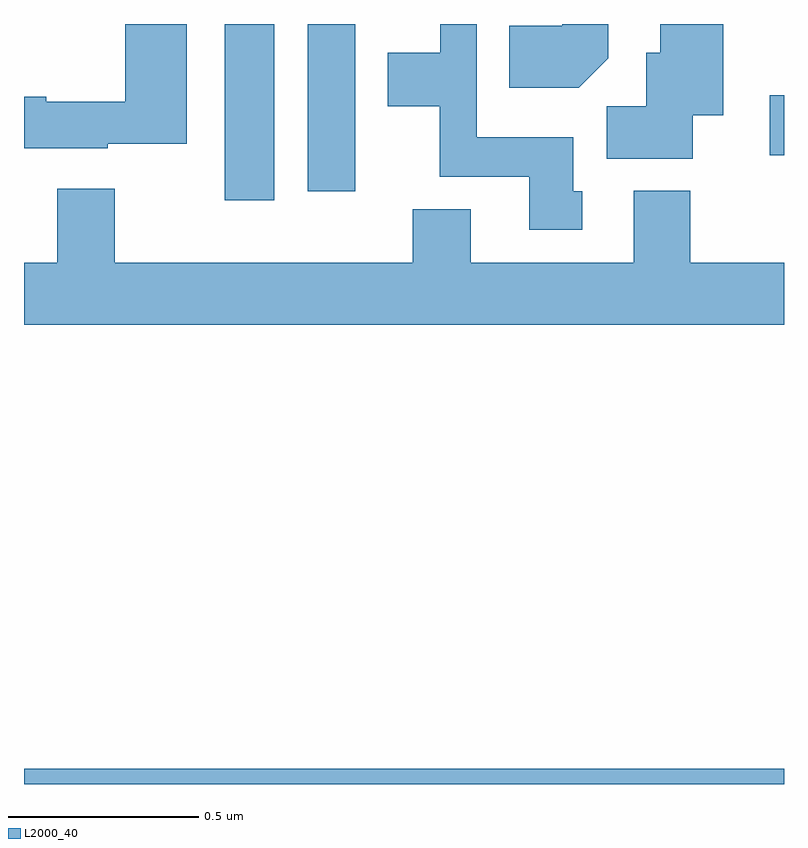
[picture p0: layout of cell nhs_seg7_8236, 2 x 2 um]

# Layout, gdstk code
import gdstk
lib = gdstk.Library(unit=1e-6, precision=1e-09)
def R(c, l, rs):  # rectangles x0, y0, x1, y1
    for r in rs: c.add(gdstk.rectangle(r[:2], r[2:], *l))
def P(c, l, *ps):  # polygons
    for p in ps: c.add(gdstk.Polygon(p, *l))
L2000_40 = (2000, 40)

nhs_seg7_8236 = lib.new_cell('nhs_seg7_8236')
R(nhs_seg7_8236, L2000_40, [(221,1074,223,1074.04), (221.528,1075.536,221.659,1076), (221.747,1075.56,221.872,1076), (222.963,1075.655,223,1075.813)])
P(nhs_seg7_8236, L2000_40, [(222.469,1075.56),(222.445,1075.56),(222.445,1075.702),(222.192,1075.702),(222.192,1076),(222.096,1076),(222.096,1075.924),(221.957,1075.924),(221.957,1075.784),(222.094,1075.784),(222.094,1075.598),(222.329,1075.598),(222.329,1075.458),(222.469,1075.458)],
  [(222.76,1075.76),(222.84,1075.76),(222.84,1076),(222.674,1076),(222.674,1075.924),(222.638,1075.924),(222.638,1075.784),(222.533,1075.784),(222.533,1075.646),(222.76,1075.646)],
  [(222.538,1075.91),(222.538,1076),(222.416,1076),(222.416,1075.996),(222.277,1075.996),(222.277,1075.832),(222.46,1075.832)],
  [(221.22,1075.685),(221.428,1075.685),(221.428,1075.999),(221.266,1075.999),(221.266,1075.795),(221.058,1075.795),(221.058,1075.808),(221,1075.808),(221,1075.673),(221.22,1075.673)],
  [(223,1075.372),(222.753,1075.372),(222.753,1075.561),(222.605,1075.561),(222.605,1075.372),(222.175,1075.372),(222.175,1075.513),(222.023,1075.513),(222.023,1075.372),(221.239,1075.372),(221.239,1075.567),(221.087,1075.567),(221.087,1075.372),(221,1075.372),(221,1075.208),(223,1075.208)])

lib.write_gds('nhs_seg7_8236.gds')
